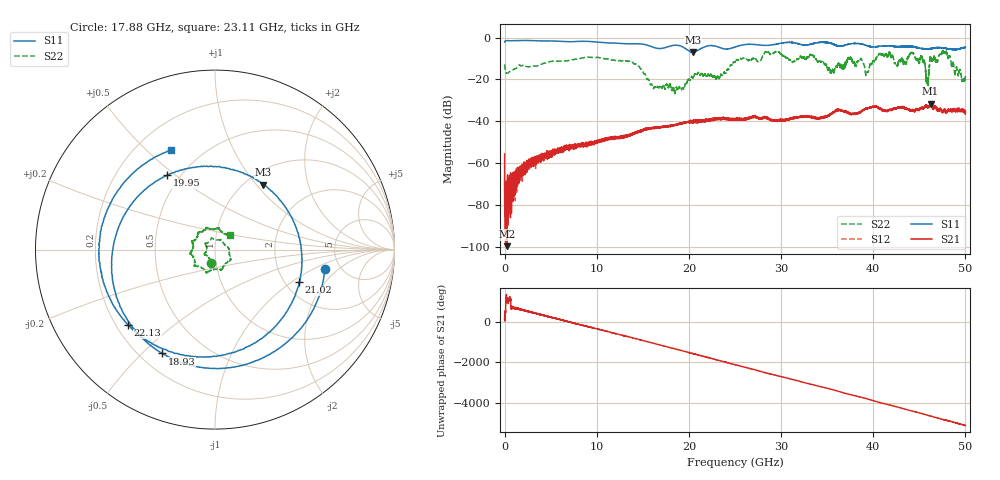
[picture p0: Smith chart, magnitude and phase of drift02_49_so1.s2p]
!Created with skrf (http://scikit-rf.org).
# Hz S RI R 50.0
!freq ReS11 ImS11 ReS21 ImS21 ReS12 ImS12 ReS22 ImS22
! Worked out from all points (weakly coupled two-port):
!   10001 points, 300 kHz to 50 GHz, reference 50 ohm
!   highest |S21| = -31.58 dB at 46.22 GHz (marker M1); lowest = -99.7 dB at 230.3 MHz (marker M2)
!   lowest |S11| = -6.9 dB at 20.44 GHz (marker M3), VSWR 2.64, Z = 59.8 + j54.4 ohm
!   |S11| at or under -10 dB: nowhere
!   |S22| runs from -26.8 to -6.1 dB; largest |S21 - S12| = 0.0028
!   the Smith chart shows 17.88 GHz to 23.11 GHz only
!   S11 on the Smith chart (normalised r, x): 17.88 GHz: 3.80, -1.31; 18.93 GHz: 0.29, -0.58; 19.95 GHz: 0.43, +0.47; 21.02 GHz: 2.37, -1.15; 22.13 GHz: 0.25, -0.35; 23.11 GHz: 0.34, +0.60
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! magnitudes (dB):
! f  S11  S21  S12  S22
! 300 kHz  -2.1  -55.6  -68.1  -12.7
! 230.3 MHz  -1.4  -99.7  -83.7  -17.0
! 2.975 GHz  -1.4  -59.0  -59.4  -13.5
! 8.335 GHz  -1.7  -51.4  -51.2  -9.7
! 13.71 GHz  -3.0  -46.2  -46.6  -11.7
! 16.67 GHz  -5.2  -43.1  -42.7  -23.6
! 17.88 GHz  -4.1  -42.1  -42.1  -22.4
! 18.93 GHz  -3.7  -41.1  -41.3  -23.5
! 19.95 GHz  -6.2  -40.4  -40.4  -19.7
! 20.44 GHz  -6.9  -40.3  -40.4  -19.2
! 21.02 GHz  -6.0  -39.9  -39.7  -16.7
! 22.13 GHz  -3.9  -39.3  -39.2  -17.7
! 23.11 GHz  -4.4  -38.7  -38.8  -18.6
! 25 GHz  -4.5  -39.2  -39.4  -11.5
! 33.34 GHz  -3.0  -38.4  -37.9  -8.4
! 39.33 GHz  -3.8  -33.7  -33.7  -16.6
! 41.67 GHz  -3.9  -34.9  -34.7  -7.9
! 44.27 GHz  -4.3  -34.5  -34.6  -7.5
! 45.85 GHz  -5.4  -32.9  -32.7  -19.7
! 46.22 GHz  -5.2  -31.6  -32.0  -9.5
! 47.75 GHz  -5.0  -34.5  -34.9  -7.0
! 50 GHz  -4.6  -35.7  -35.8  -18.8
